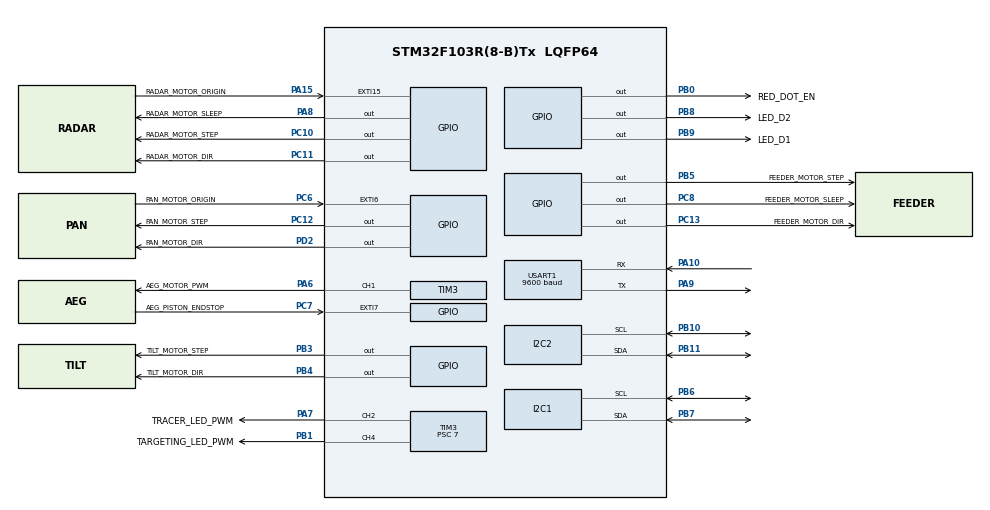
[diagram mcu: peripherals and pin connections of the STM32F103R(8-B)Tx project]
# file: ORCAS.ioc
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Mcu.Family=STM32F1
Mcu.Name=STM32F103R(8-B)Tx
Mcu.Package=LQFP64
NVIC.EXTI15_10_IRQn=true\:1\:0\:true\:false\:true\:true\:true
NVIC.EXTI9_5_IRQn=true\:1\:0\:true\:false\:true\:true\:true
NVIC.PriorityGroup=NVIC_PRIORITYGROUP_4
NVIC.TIM2_IRQn=true\:1\:0\:true\:false\:true\:true\:true
NVIC.USART1_IRQn=true\:0\:0\:false\:false\:true\:true\:true
PA10.Mode=Asynchronous
PA10.Signal=USART1_RX
PA13.Mode=Serial_Wire
PA13.Signal=SYS_JTMS-SWDIO
PA14.Mode=Serial_Wire
PA14.Signal=SYS_JTCK-SWCLK
PA15.GPIO_Label=RADAR_MOTOR_ORIGIN
PA15.GPIO_ModeDefaultEXTI=GPIO_MODE_IT_FALLING
PA15.GPIO_PuPd=GPIO_PULLUP
PA15.Signal=GPXTI15
PA6.GPIO_Label=AEG_MOTOR_PWM
PA6.Signal=S_TIM3_CH1
PA7.GPIO_Label=TRACER_LED_PWM
PA7.Signal=S_TIM3_CH2
PA8.GPIO_Label=RADAR_MOTOR_SLEEP
PA8.Signal=GPIO_Output
PA9.Mode=Asynchronous
PA9.Signal=USART1_TX
PB0.GPIO_Label=RED_DOT_EN
PB0.Signal=GPIO_Output
PB1.GPIO_Label=TARGETING_LED_PWM
PB1.Signal=S_TIM3_CH4
PB10.Mode=I2C
PB10.Signal=I2C2_SCL
PB11.Mode=I2C
PB11.Signal=I2C2_SDA
PB3.GPIO_Label=TILT_MOTOR_STEP
PB3.Signal=GPIO_Output
PB4.GPIO_Label=TILT_MOTOR_DIR
PB4.Signal=GPIO_Output
PB5.GPIO_Label=FEEDER_MOTOR_STEP
PB5.Signal=GPIO_Output
PB6.Mode=I2C
PB6.Signal=I2C1_SCL
PB7.Mode=I2C
PB7.Signal=I2C1_SDA
PB8.GPIO_Label=LED_D2
PB8.PinState=GPIO_PIN_SET
PB8.Signal=GPIO_Output
PB9.GPIO_Label=LED_D1
PB9.PinState=GPIO_PIN_SET
PB9.Signal=GPIO_Output
PC10.GPIO_Label=RADAR_MOTOR_STEP
PC10.Signal=GPIO_Output
PC11.GPIO_Label=RADAR_MOTOR_DIR
PC11.Signal=GPIO_Output
PC12.GPIO_Label=PAN_MOTOR_STEP
PC12.Signal=GPIO_Output
PC13-TAMPER-RTC.GPIO_Label=FEEDER_MOTOR_DIR
PC13-TAMPER-RTC.Signal=GPIO_Output
PC14-OSC32_IN.Mode=LSE-External-Oscillator
PC14-OSC32_IN.Signal=RCC_OSC32_IN
PC15-OSC32_OUT.Mode=LSE-External-Oscillator
PC15-OSC32_OUT.Signal=RCC_OSC32_OUT
PC6.GPIO_Label=PAN_MOTOR_ORIGIN
PC6.GPIO_ModeDefaultEXTI=GPIO_MODE_IT_FALLING
PC6.GPIO_PuPd=GPIO_PULLUP
PC6.Signal=GPXTI6
PC7.GPIO_Label=AEG_PISTON_ENDSTOP
PC7.GPIO_ModeDefaultEXTI=GPIO_MODE_IT_FALLING
PC7.GPIO_PuPd=GPIO_PULLUP
PC7.Signal=GPXTI7
PC8.GPIO_Label=FEEDER_MOTOR_SLEEP
PC8.Signal=GPIO_Output
PD0-OSC_IN.Mode=HSE-External-Oscillator
PD0-OSC_IN.Signal=RCC_OSC_IN
PD1-OSC_OUT.Mode=HSE-External-Oscillator
PD1-OSC_OUT.Signal=RCC_OSC_OUT
PD2.GPIO_Label=PAN_MOTOR_DIR
PD2.Signal=GPIO_Output
ProjectManager.HeapSize=0x200
ProjectManager.StackSize=0x400
ProjectManager.TargetToolchain=STM32CubeIDE
RCC.APB1Freq_Value=8000000
RCC.APB2Freq_Value=8000000
SH.S_TIM3_CH1.0=TIM3_CH1,PWM Generation1 CH1
SH.S_TIM3_CH2.0=TIM3_CH2,PWM Generation2 CH2
SH.S_TIM3_CH4.0=TIM3_CH4,PWM Generation4 CH4
TIM2.AutoReloadPreload=TIM_AUTORELOAD_PRELOAD_ENABLE
TIM2.Period=250
TIM2.Prescaler=7
TIM2.TIM_MasterOutputTrigger=TIM_TRGO_UPDATE
TIM3.AutoReloadPreload=TIM_AUTORELOAD_PRELOAD_ENABLE
TIM3.Channel-PWM\ Generation1\ CH1=TIM_CHANNEL_1
TIM3.Channel-PWM\ Generation2\ CH2=TIM_CHANNEL_2
TIM3.Channel-PWM\ Generation4\ CH4=TIM_CHANNEL_4
TIM3.Period=100
TIM3.Prescaler=7
TIM3.Pulse-PWM\ Generation4\ CH4=0
TIM3.TIM_MasterOutputTrigger=TIM_TRGO_UPDATE
USART1.BaudRate=9600
USART1.VirtualMode=VM_ASYNC
VP_TIM2_VS_ClockSourceINT.Mode=Internal
VP_TIM3_VS_ClockSourceINT.Mode=Internal
board=custom

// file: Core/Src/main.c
/* USER CODE BEGIN Header */
/**
  ******************************************************************************
  * @file           : main.c
  * @brief          : Main program body
  ******************************************************************************
  * @attention
  *
  * <h2><center>&copy; Copyright (c) 2025 STMicroelectronics.
  * All rights reserved.</center></h2>
  *
  * This software component is licensed by ST under BSD 3-Clause license,
  * the "License"; You may not use this file except in compliance with the
  * License. You may obtain a copy of the License at:
  *                        opensource.org/licenses/BSD-3-Clause
  *
  ******************************************************************************
  */
/* USER CODE END Header */
#include "main.h"

/* USER CODE BEGIN Includes */
#include "uart_cmds_handle.h"
#include "fire_ctrl_utils.h"
#include "orientation_ctrl_utils.h"
#include "tof_sensors_ctrl_utils.h"
/* USER CODE END Includes */

I2C_HandleTypeDef hi2c1;
I2C_HandleTypeDef hi2c2;

TIM_HandleTypeDef htim2;
TIM_HandleTypeDef htim3;

UART_HandleTypeDef huart1;

/* USER CODE BEGIN PV */
#define PERODIC_ROUTINES_DISPATCHED__FIRE_CTRL			0x01
#define PERODIC_ROUTINES_DISPATCHED__ORIENTATION_CTRL	0x02
#define PERODIC_ROUTINES_DISPATCHED__UART_CMDS_HANDLING	0x04
#define PERODIC_ROUTINES_DISPATCHED__TOF_SENSORS_CTRL	0x08
uint8_t perodic_routines_dispatched = 0;
/* USER CODE END PV */

void SystemClock_Config(void);
static void MX_GPIO_Init(void);
static void MX_USART1_UART_Init(void);
static void MX_TIM2_Init(void);
static void MX_TIM3_Init(void);
static void MX_I2C1_Init(void);
static void MX_I2C2_Init(void);

int main(void)
{

  /* MCU Configuration--------------------------------------------------------*/

  /* Reset of all peripherals, Initializes the Flash interface and the Systick. */
  HAL_Init();

  /* Configure the system clock */
  SystemClock_Config();

  /* Initialize all configured peripherals */
  MX_GPIO_Init();
  MX_USART1_UART_Init();
  MX_TIM2_Init();
  MX_TIM3_Init();
  MX_I2C1_Init();
  MX_I2C2_Init();
  /* USER CODE BEGIN 2 */
  HAL_TIM_Base_Start_IT(&htim2);
  HAL_UART_Receive_IT(&huart1, uart_rx_buf, 1);
#ifdef TOF_SENSORS_CTRL
  tof_sensors_init();
#endif
#ifdef FIRE_CTRL
  fire_ctrl_init();
#endif
  orientation_ctrl_init();

  /* USER CODE END 2 */

  /* Infinite loop */
  /* USER CODE BEGIN WHILE */
  while (1)
  {
	if(perodic_routines_dispatched & PERODIC_ROUTINES_DISPATCHED__FIRE_CTRL){
		perodic_routines_dispatched &= ~PERODIC_ROUTINES_DISPATCHED__FIRE_CTRL;
		fire_ctrl_perodic_routines();
	}
	if(perodic_routines_dispatched & PERODIC_ROUTINES_DISPATCHED__ORIENTATION_CTRL){
		perodic_routines_dispatched &= ~PERODIC_ROUTINES_DISPATCHED__ORIENTATION_CTRL;
		orientation_ctrl_perodic_routines();
	}
	if(perodic_routines_dispatched & PERODIC_ROUTINES_DISPATCHED__UART_CMDS_HANDLING){
		perodic_routines_dispatched &= ~PERODIC_ROUTINES_DISPATCHED__UART_CMDS_HANDLING;
		uart_cmds_handle_perodic_routines();
	}
	if(perodic_routines_dispatched & PERODIC_ROUTINES_DISPATCHED__TOF_SENSORS_CTRL){
		perodic_routines_dispatched &= ~PERODIC_ROUTINES_DISPATCHED__TOF_SENSORS_CTRL;
		tof_sensors_perodic_routines();
	}

    /* USER CODE END WHILE */

  }
}

void SystemClock_Config(void)
{
  RCC_OscInitTypeDef RCC_OscInitStruct = {0};
  RCC_ClkInitTypeDef RCC_ClkInitStruct = {0};

  /** Initializes the RCC Oscillators according to the specified parameters
  * in the RCC_OscInitTypeDef structure.
  */
  RCC_OscInitStruct.OscillatorType = RCC_OSCILLATORTYPE_HSI;
  RCC_OscInitStruct.HSIState = RCC_HSI_ON;
  RCC_OscInitStruct.HSICalibrationValue = RCC_HSICALIBRATION_DEFAULT;
  RCC_OscInitStruct.PLL.PLLState = RCC_PLL_NONE;
  if (HAL_RCC_OscConfig(&RCC_OscInitStruct) != HAL_OK)
  {
    Error_Handler();
  }
  /** Initializes the CPU, AHB and APB buses clocks
  */
  RCC_ClkInitStruct.ClockType = RCC_CLOCKTYPE_HCLK|RCC_CLOCKTYPE_SYSCLK
                              |RCC_CLOCKTYPE_PCLK1|RCC_CLOCKTYPE_PCLK2;
  RCC_ClkInitStruct.SYSCLKSource = RCC_SYSCLKSOURCE_HSI;
  RCC_ClkInitStruct.AHBCLKDivider = RCC_SYSCLK_DIV1;
  RCC_ClkInitStruct.APB1CLKDivider = RCC_HCLK_DIV1;
  RCC_ClkInitStruct.APB2CLKDivider = RCC_HCLK_DIV1;

  if (HAL_RCC_ClockConfig(&RCC_ClkInitStruct, FLASH_LATENCY_0) != HAL_OK)
  {
    Error_Handler();
  }
}

static void MX_I2C1_Init(void)
{

  hi2c1.Instance = I2C1;
  hi2c1.Init.ClockSpeed = 100000;
  hi2c1.Init.DutyCycle = I2C_DUTYCYCLE_2;
  hi2c1.Init.OwnAddress1 = 0;
  hi2c1.Init.AddressingMode = I2C_ADDRESSINGMODE_7BIT;
  hi2c1.Init.DualAddressMode = I2C_DUALADDRESS_DISABLE;
  hi2c1.Init.OwnAddress2 = 0;
  hi2c1.Init.GeneralCallMode = I2C_GENERALCALL_DISABLE;
  hi2c1.Init.NoStretchMode = I2C_NOSTRETCH_DISABLE;
  if (HAL_I2C_Init(&hi2c1) != HAL_OK)
  {
    Error_Handler();
  }

}

static void MX_I2C2_Init(void)
{

  hi2c2.Instance = I2C2;
  hi2c2.Init.ClockSpeed = 100000;
  hi2c2.Init.DutyCycle = I2C_DUTYCYCLE_2;
  hi2c2.Init.OwnAddress1 = 0;
  hi2c2.Init.AddressingMode = I2C_ADDRESSINGMODE_7BIT;
  hi2c2.Init.DualAddressMode = I2C_DUALADDRESS_DISABLE;
  hi2c2.Init.OwnAddress2 = 0;
  hi2c2.Init.GeneralCallMode = I2C_GENERALCALL_DISABLE;
  hi2c2.Init.NoStretchMode = I2C_NOSTRETCH_DISABLE;
  if (HAL_I2C_Init(&hi2c2) != HAL_OK)
  {
    Error_Handler();
  }

}

static void MX_TIM2_Init(void)
{

  TIM_ClockConfigTypeDef sClockSourceConfig = {0};
  TIM_MasterConfigTypeDef sMasterConfig = {0};

  htim2.Instance = TIM2;
  htim2.Init.Prescaler = 7;
  htim2.Init.CounterMode = TIM_COUNTERMODE_UP;
  htim2.Init.Period = 250;
  htim2.Init.ClockDivision = TIM_CLOCKDIVISION_DIV1;
  htim2.Init.AutoReloadPreload = TIM_AUTORELOAD_PRELOAD_ENABLE;
  if (HAL_TIM_Base_Init(&htim2) != HAL_OK)
  {
    Error_Handler();
  }
  sClockSourceConfig.ClockSource = TIM_CLOCKSOURCE_INTERNAL;
  if (HAL_TIM_ConfigClockSource(&htim2, &sClockSourceConfig) != HAL_OK)
  {
    Error_Handler();
  }
  sMasterConfig.MasterOutputTrigger = TIM_TRGO_UPDATE;
  sMasterConfig.MasterSlaveMode = TIM_MASTERSLAVEMODE_DISABLE;
  if (HAL_TIMEx_MasterConfigSynchronization(&htim2, &sMasterConfig) != HAL_OK)
  {
    Error_Handler();
  }

}

static void MX_TIM3_Init(void)
{

  TIM_ClockConfigTypeDef sClockSourceConfig = {0};
  TIM_MasterConfigTypeDef sMasterConfig = {0};
  TIM_OC_InitTypeDef sConfigOC = {0};

  htim3.Instance = TIM3;
  htim3.Init.Prescaler = 7;
  htim3.Init.CounterMode = TIM_COUNTERMODE_UP;
  htim3.Init.Period = 100;
  htim3.Init.ClockDivision = TIM_CLOCKDIVISION_DIV1;
  htim3.Init.AutoReloadPreload = TIM_AUTORELOAD_PRELOAD_ENABLE;
  if (HAL_TIM_Base_Init(&htim3) != HAL_OK)
  {
    Error_Handler();
  }
  sClockSourceConfig.ClockSource = TIM_CLOCKSOURCE_INTERNAL;
  if (HAL_TIM_ConfigClockSource(&htim3, &sClockSourceConfig) != HAL_OK)
  {
    Error_Handler();
  }
  if (HAL_TIM_PWM_Init(&htim3) != HAL_OK)
  {
    Error_Handler();
  }
  sMasterConfig.MasterOutputTrigger = TIM_TRGO_UPDATE;
  sMasterConfig.MasterSlaveMode = TIM_MASTERSLAVEMODE_DISABLE;
  if (HAL_TIMEx_MasterConfigSynchronization(&htim3, &sMasterConfig) != HAL_OK)
  {
    Error_Handler();
  }
  sConfigOC.OCMode = TIM_OCMODE_PWM1;
  sConfigOC.Pulse = 0;
  sConfigOC.OCPolarity = TIM_OCPOLARITY_HIGH;
  sConfigOC.OCFastMode = TIM_OCFAST_DISABLE;
  if (HAL_TIM_PWM_ConfigChannel(&htim3, &sConfigOC, TIM_CHANNEL_1) != HAL_OK)
  {
    Error_Handler();
  }
  if (HAL_TIM_PWM_ConfigChannel(&htim3, &sConfigOC, TIM_CHANNEL_2) != HAL_OK)
  {
    Error_Handler();
  }
  if (HAL_TIM_PWM_ConfigChannel(&htim3, &sConfigOC, TIM_CHANNEL_4) != HAL_OK)
  {
    Error_Handler();
  }
  HAL_TIM_MspPostInit(&htim3);

}

static void MX_USART1_UART_Init(void)
{

  huart1.Instance = USART1;
  huart1.Init.BaudRate = 9600;
  huart1.Init.WordLength = UART_WORDLENGTH_8B;
  huart1.Init.StopBits = UART_STOPBITS_1;
  huart1.Init.Parity = UART_PARITY_NONE;
  huart1.Init.Mode = UART_MODE_TX_RX;
  huart1.Init.HwFlowCtl = UART_HWCONTROL_NONE;
  huart1.Init.OverSampling = UART_OVERSAMPLING_16;
  if (HAL_UART_Init(&huart1) != HAL_OK)
  {
    Error_Handler();
  }

}

static void MX_GPIO_Init(void)
{
  GPIO_InitTypeDef GPIO_InitStruct = {0};

  /* GPIO Ports Clock Enable */
  __HAL_RCC_GPIOC_CLK_ENABLE();
  __HAL_RCC_GPIOD_CLK_ENABLE();
  __HAL_RCC_GPIOA_CLK_ENABLE();
  __HAL_RCC_GPIOB_CLK_ENABLE();

  /*Configure GPIO pin Output Level */
  HAL_GPIO_WritePin(GPIOC, FEEDER_MOTOR_DIR_Pin|FEEDER_MOTOR_SLEEP_Pin|RADAR_MOTOR_STEP_Pin|RADAR_MOTOR_DIR_Pin
                          |PAN_MOTOR_STEP_Pin, GPIO_PIN_RESET);

  /*Configure GPIO pin Output Level */
  HAL_GPIO_WritePin(GPIOB, RED_DOT_EN_Pin|TILT_MOTOR_STEP_Pin|TILT_MOTOR_DIR_Pin|FEEDER_MOTOR_STEP_Pin, GPIO_PIN_RESET);

  /*Configure GPIO pin Output Level */
  HAL_GPIO_WritePin(RADAR_MOTOR_SLEEP_GPIO_Port, RADAR_MOTOR_SLEEP_Pin, GPIO_PIN_RESET);

  /*Configure GPIO pin Output Level */
  HAL_GPIO_WritePin(PAN_MOTOR_DIR_GPIO_Port, PAN_MOTOR_DIR_Pin, GPIO_PIN_RESET);

  /*Configure GPIO pin Output Level */
  HAL_GPIO_WritePin(GPIOB, LED_D2_Pin|LED_D1_Pin, GPIO_PIN_SET);

  /*Configure GPIO pins : FEEDER_MOTOR_DIR_Pin FEEDER_MOTOR_SLEEP_Pin RADAR_MOTOR_STEP_Pin RADAR_MOTOR_DIR_Pin
                           PAN_MOTOR_STEP_Pin */
  GPIO_InitStruct.Pin = FEEDER_MOTOR_DIR_Pin|FEEDER_MOTOR_SLEEP_Pin|RADAR_MOTOR_STEP_Pin|RADAR_MOTOR_DIR_Pin
                          |PAN_MOTOR_STEP_Pin;
  GPIO_InitStruct.Mode = GPIO_MODE_OUTPUT_PP;
  GPIO_InitStruct.Pull = GPIO_NOPULL;
  GPIO_InitStruct.Speed = GPIO_SPEED_FREQ_LOW;
  HAL_GPIO_Init(GPIOC, &GPIO_InitStruct);

  /*Configure GPIO pins : RED_DOT_EN_Pin TILT_MOTOR_STEP_Pin TILT_MOTOR_DIR_Pin FEEDER_MOTOR_STEP_Pin
                           LED_D2_Pin LED_D1_Pin */
  GPIO_InitStruct.Pin = RED_DOT_EN_Pin|TILT_MOTOR_STEP_Pin|TILT_MOTOR_DIR_Pin|FEEDER_MOTOR_STEP_Pin
                          |LED_D2_Pin|LED_D1_Pin;
  GPIO_InitStruct.Mode = GPIO_MODE_OUTPUT_PP;
  GPIO_InitStruct.Pull = GPIO_NOPULL;
  GPIO_InitStruct.Speed = GPIO_SPEED_FREQ_LOW;
  HAL_GPIO_Init(GPIOB, &GPIO_InitStruct);

  /*Configure GPIO pins : PAN_MOTOR_ORIGIN_Pin AEG_PISTON_ENDSTOP_Pin */
  GPIO_InitStruct.Pin = PAN_MOTOR_ORIGIN_Pin|AEG_PISTON_ENDSTOP_Pin;
  GPIO_InitStruct.Mode = GPIO_MODE_IT_FALLING;
  GPIO_InitStruct.Pull = GPIO_PULLUP;
  HAL_GPIO_Init(GPIOC, &GPIO_InitStruct);

  /*Configure GPIO pin : RADAR_MOTOR_SLEEP_Pin */
  GPIO_InitStruct.Pin = RADAR_MOTOR_SLEEP_Pin;
  GPIO_InitStruct.Mode = GPIO_MODE_OUTPUT_PP;
  GPIO_InitStruct.Pull = GPIO_NOPULL;
  GPIO_InitStruct.Speed = GPIO_SPEED_FREQ_LOW;
  HAL_GPIO_Init(RADAR_MOTOR_SLEEP_GPIO_Port, &GPIO_InitStruct);

  /*Configure GPIO pin : RADAR_MOTOR_ORIGIN_Pin */
  GPIO_InitStruct.Pin = RADAR_MOTOR_ORIGIN_Pin;
  GPIO_InitStruct.Mode = GPIO_MODE_IT_FALLING;
  GPIO_InitStruct.Pull = GPIO_PULLUP;
  HAL_GPIO_Init(RADAR_MOTOR_ORIGIN_GPIO_Port, &GPIO_InitStruct);

  /*Configure GPIO pin : PAN_MOTOR_DIR_Pin */
  GPIO_InitStruct.Pin = PAN_MOTOR_DIR_Pin;
  GPIO_InitStruct.Mode = GPIO_MODE_OUTPUT_PP;
  GPIO_InitStruct.Pull = GPIO_NOPULL;
  GPIO_InitStruct.Speed = GPIO_SPEED_FREQ_LOW;
  HAL_GPIO_Init(PAN_MOTOR_DIR_GPIO_Port, &GPIO_InitStruct);

  /* EXTI interrupt init*/
  HAL_NVIC_SetPriority(EXTI9_5_IRQn, 1, 0);
  HAL_NVIC_EnableIRQ(EXTI9_5_IRQn);

  HAL_NVIC_SetPriority(EXTI15_10_IRQn, 1, 0);
  HAL_NVIC_EnableIRQ(EXTI15_10_IRQn);

}

/* USER CODE BEGIN 4 */
#define GLOBAL_TIMER_INT_PERIOD_US	250
uint16_t global_timer_count_us = 0;
void HAL_TIM_PeriodElapsedCallback(TIM_HandleTypeDef *htim)
{
	if(htim == &htim2){
		global_timer_count_us += GLOBAL_TIMER_INT_PERIOD_US;
		if(global_timer_count_us >= 10000){
			global_timer_count_us = 0;
		}

		if(global_timer_count_us % UART_CMDS_HANDLE_ROUTINES_MIN_PERIOD_US == 0){
			perodic_routines_dispatched |= PERODIC_ROUTINES_DISPATCHED__UART_CMDS_HANDLING;
		}

#ifdef FIRE_CTRL
		if(global_timer_count_us % FIRE_CTRL_ROUTINES_MIN_PERIOD_US == 0){
			perodic_routines_dispatched |= PERODIC_ROUTINES_DISPATCHED__FIRE_CTRL;
		}
#endif
		if(global_timer_count_us % ORIENTATION_CTRL_ROUTINES_MIN_PERIOD_US == 0){
			perodic_routines_dispatched |= PERODIC_ROUTINES_DISPATCHED__ORIENTATION_CTRL;
		}
#ifdef TOF_SENSORS_CTRL
		if(global_timer_count_us % TOF_SENSORS_ROUTINES_MIN_PERIOD_US == 0){
			perodic_routines_dispatched |= PERODIC_ROUTINES_DISPATCHED__TOF_SENSORS_CTRL;
		}
#endif
	}
}

void HAL_GPIO_EXTI_Callback(uint16_t GPIO_Pin){
#ifdef FIRE_CTRL
	if(GPIO_Pin == AEG_PISTON_ENDSTOP_Pin){
		fire_ctrl_isr(GPIO_Pin);
	}
#endif
#ifdef ORIENTATION_CTRL
	if(GPIO_Pin == PAN_MOTOR_ORIGIN_Pin){
		orientation_ctrl_isr(GPIO_Pin);
	}
#endif
#ifdef TOF_SENSORS_CTRL
	if(GPIO_Pin == RADAR_MOTOR_ORIGIN_Pin){
		tof_sensors_isr(GPIO_Pin);
	}
#endif
}

void MX_I2C_ForceClearBusyFlag(I2C_HandleTypeDef *hi2c,
							   GPIO_TypeDef* sda_gpio_port, uint16_t sda_gpio_pin,
							   GPIO_TypeDef* scl_gpio_port, uint16_t scl_gpio_pin){
	GPIO_InitTypeDef GPIO_InitStructure;

	// 1. Disable the I2C peripheral by clearing the PE bit in I2Cx_CR1 register
	__HAL_I2C_DISABLE(hi2c);
	// HAL_I2C_DeInit(hi2c);
	// 2. Configure the SCL and SDA I/Os as General Purpose Output Open-Drain, High level
	GPIO_InitStructure.Pin 			= sda_gpio_pin;
	GPIO_InitStructure.Mode         = GPIO_MODE_OUTPUT_OD;
	GPIO_InitStructure.Pull         = GPIO_NOPULL;
	GPIO_InitStructure.Speed        = GPIO_SPEED_FREQ_HIGH;
	HAL_GPIO_Init(sda_gpio_port, &GPIO_InitStructure);
	HAL_GPIO_WritePin(sda_gpio_port, sda_gpio_pin, GPIO_PIN_SET);
	GPIO_InitStructure.Pin 			= scl_gpio_pin;
	GPIO_InitStructure.Mode         = GPIO_MODE_OUTPUT_OD;
	GPIO_InitStructure.Pull         = GPIO_NOPULL;
	GPIO_InitStructure.Speed        = GPIO_SPEED_FREQ_HIGH;
	HAL_GPIO_Init(scl_gpio_port, &GPIO_InitStructure);
	HAL_GPIO_WritePin(scl_gpio_port, scl_gpio_pin, GPIO_PIN_SET);
	// 3. Check SCL and SDA High level
	while (GPIO_PIN_SET != HAL_GPIO_ReadPin(sda_gpio_port, sda_gpio_pin)){asm("nop");}
	while (GPIO_PIN_SET != HAL_GPIO_ReadPin(scl_gpio_port, scl_gpio_pin)){asm("nop");}
	// 4. Configure the SDA I/O as General Purpose Output Open-Drain, Low level
	HAL_GPIO_WritePin(sda_gpio_port, sda_gpio_pin, GPIO_PIN_RESET);
	// 5. Check SDA Low level.
	while (GPIO_PIN_RESET != HAL_GPIO_ReadPin(sda_gpio_port, sda_gpio_pin)){asm("nop");}
	// 6. Configure the SCL I/O as General Purpose Output Open-Drain, Low level
	HAL_GPIO_WritePin(scl_gpio_port, scl_gpio_pin, GPIO_PIN_RESET);
	// 7. Check SCL Low level.
	while (GPIO_PIN_RESET != HAL_GPIO_ReadPin(scl_gpio_port, scl_gpio_pin)){asm("nop");}
	// 8. Configure the SCL I/O as General Purpose Output Open-Drain, High level
	HAL_GPIO_WritePin(scl_gpio_port, scl_gpio_pin, GPIO_PIN_SET);
	// 9. Check SCL High level.
	while (GPIO_PIN_SET != HAL_GPIO_ReadPin(scl_gpio_port, scl_gpio_pin)){asm("nop");}
	// 10. Configure the SDA I/O as General Purpose Output Open-Drain , High level
	HAL_GPIO_WritePin(sda_gpio_port, sda_gpio_pin, GPIO_PIN_SET);
	// 11. Check SDA High level.
	while (GPIO_PIN_SET != HAL_GPIO_ReadPin(sda_gpio_port, sda_gpio_pin)){asm("nop");}
	// 12. Configure the SCL and SDA I/Os as Alternate function Open-Drain
	GPIO_InitStructure.Pin = sda_gpio_pin|scl_gpio_pin;
	GPIO_InitStructure.Mode = GPIO_MODE_AF_OD;
	GPIO_InitStructure.Speed = GPIO_SPEED_FREQ_HIGH;
    HAL_GPIO_Init(sda_gpio_port, &GPIO_InitStructure);
	// 13. Set SWRST bit in I2Cx_CR1 register
    SET_BIT(hi2c->Instance->CR1, I2C_CR1_SWRST);
    // 14. Clear SWRST bit in I2Cx_CR1 register
    CLEAR_BIT(hi2c->Instance->CR1, I2C_CR1_SWRST);
    // 15. Enable the I2C peripheral by setting the PE bit in I2Cx_CR1 register
    // __HAL_I2C_ENABLE(hi2c);
    HAL_I2C_Init(hi2c);
}
/* USER CODE END 4 */

void Error_Handler(void)
{
  __disable_irq();
  while (1)
  {
  }
}

/************************ (C) COPYRIGHT STMicroelectronics *****END OF FILE****/
